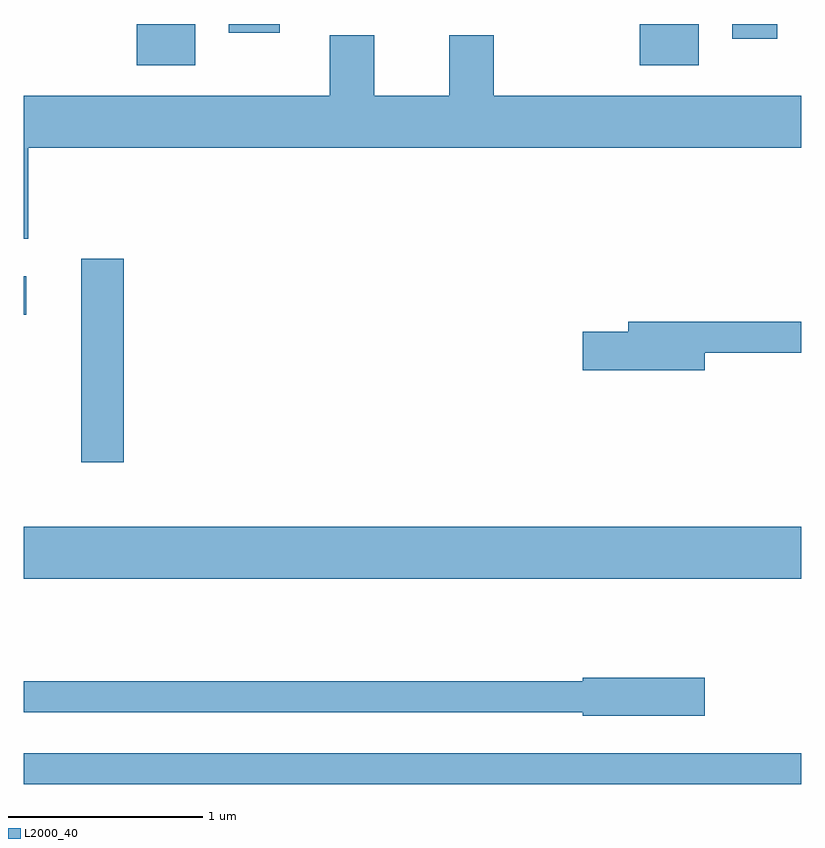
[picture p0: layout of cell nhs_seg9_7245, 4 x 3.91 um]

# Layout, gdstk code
import gdstk
lib = gdstk.Library(unit=1e-6, precision=1e-09)
def R(c, l, rs):  # rectangles x0, y0, x1, y1
    for r in rs: c.add(gdstk.rectangle(r[:2], r[2:], *l))
def P(c, l, *ps):  # polygons
    for p in ps: c.add(gdstk.Polygon(p, *l))
L2000_40 = (2000, 40)

nhs_seg9_7245 = lib.new_cell('nhs_seg9_7245')
R(nhs_seg9_7245, L2000_40, [(399.611,2008.521,403.611,2008.679), (399.611,2009.576,403.611,2009.844), (399.906,2010.176,400.124,2011.224), (399.611,2010.936,399.624,2011.134), (400.191,2012.221,400.494,2012.432), (402.781,2012.221,403.084,2012.432), (403.256,2012.356,403.489,2012.432), (400.666,2012.386,400.929,2012.432)])
P(nhs_seg9_7245, L2000_40, [(399.634,2011.796),(403.611,2011.796),(403.611,2012.064),(402.029,2012.064),(402.029,2012.374),(401.801,2012.374),(401.801,2012.064),(401.414,2012.064),(401.414,2012.374),(401.186,2012.374),(401.186,2012.064),(399.611,2012.064),(399.611,2011.326),(399.634,2011.326)],
  [(403.114,2010.741),(403.611,2010.741),(403.611,2010.899),(402.721,2010.899),(402.721,2010.849),(402.486,2010.849),(402.486,2010.651),(403.114,2010.651)],
  [(403.114,2009.069),(402.486,2009.069),(402.486,2009.049),(399.611,2009.049),(399.611,2008.891),(402.486,2008.891),(402.486,2008.871),(403.114,2008.871)])

lib.write_gds('nhs_seg9_7245.gds')
